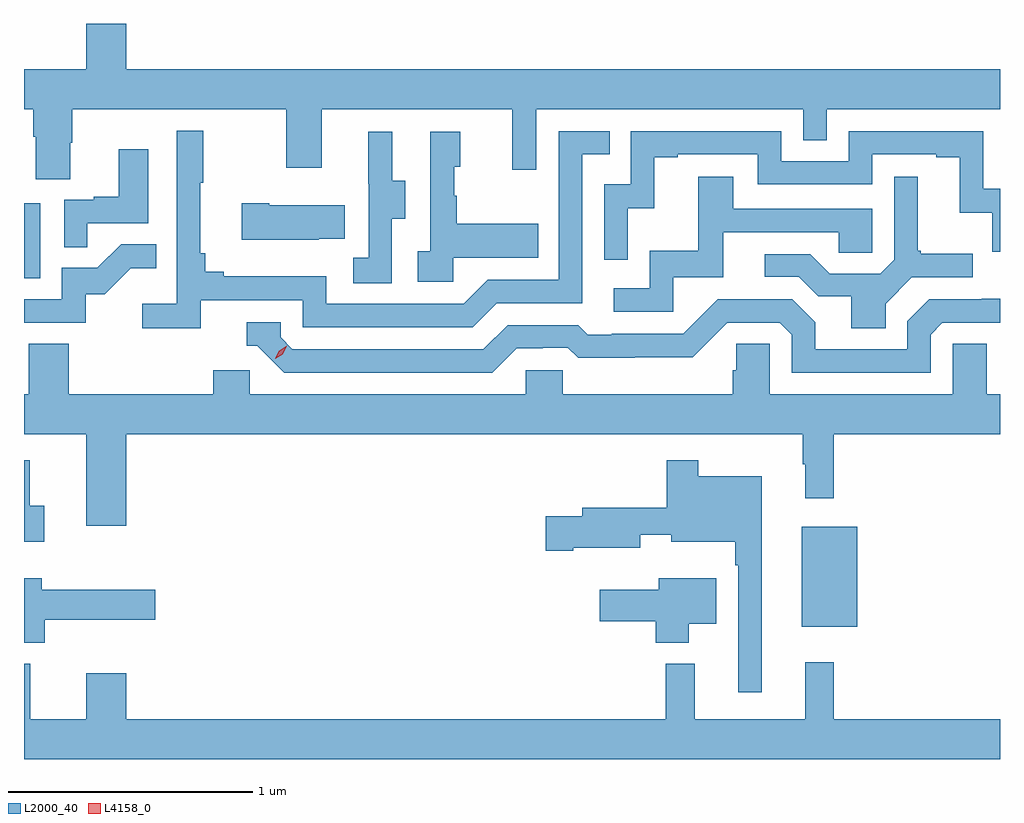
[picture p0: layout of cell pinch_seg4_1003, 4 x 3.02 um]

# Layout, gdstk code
import gdstk
lib = gdstk.Library(unit=1e-6, precision=1e-09)
def R(c, l, rs):  # rectangles x0, y0, x1, y1
    for r in rs: c.add(gdstk.rectangle(r[:2], r[2:], *l))
def P(c, l, *ps):  # polygons
    for p in ps: c.add(gdstk.Polygon(p, *l))
L2000_40 = (2000, 40)
L4158_0 = (4158, 0)

pinch_seg4_1003 = lib.new_cell('pinch_seg4_1003')
R(pinch_seg4_1003, L2000_40, [(827.279,777.383,827.506,777.793), (824.092,778.812,824.158,779.119)])
P(pinch_seg4_1003, L2000_40, [(824.281,779.367),(824.289,779.367),(824.289,779.504),(825.166,779.504),(825.166,779.265),(825.313,779.265),(825.313,779.504),(826.094,779.504),(826.094,779.256),(826.191,779.256),(826.191,779.504),(827.286,779.504),(827.286,779.377),(827.382,779.377),(827.382,779.504),(828.092,779.504),(828.092,779.668),(824.512,779.668),(824.512,779.855),(824.348,779.855),(824.348,779.668),(824.092,779.668),(824.092,779.504),(824.129,779.504),(824.129,779.392),(824.141,779.392),(824.141,779.218),(824.281,779.218)],
  [(824.816,778.722),(825.234,778.722),(825.234,778.611),(825.931,778.611),(826.03,778.71),(826.38,778.71),(826.38,779.319),(826.493,779.319),(826.493,779.415),(826.284,779.415),(826.284,778.806),(825.993,778.806),(825.894,778.707),(825.33,778.707),(825.33,778.819),(824.911,778.819),(824.911,778.838),(824.834,778.838),(824.834,778.915),(824.815,778.915),(824.815,779.203),(824.827,779.203),(824.827,779.416),(824.718,779.416),(824.718,778.708),(824.577,778.708),(824.577,778.606),(824.816,778.606)],
  [(826.566,779.099),(826.676,779.099),(826.676,779.307),(826.771,779.307),(826.771,779.319),(827.1,779.319),(827.1,779.196),(827.568,779.196),(827.568,779.319),(827.831,779.319),(827.831,779.307),(827.927,779.307),(827.927,779.081),(828.06,779.081),(828.06,778.92),(828.092,778.92),(828.092,779.179),(828.024,779.179),(828.024,779.415),(827.472,779.415),(827.472,779.292),(827.196,779.292),(827.196,779.415),(826.578,779.415),(826.578,779.196),(826.47,779.196),(826.47,778.887),(826.566,778.887)],
  [(825.6,779.056),(825.655,779.056),(825.655,779.211),(825.601,779.211),(825.601,779.413),(825.503,779.413),(825.503,779.199),(825.504,779.199),(825.504,778.895),(825.441,778.895),(825.441,778.792),(825.6,778.792)],
  [(825.852,778.895),(826.199,778.895),(826.199,779.035),(825.865,779.035),(825.865,779.15),(825.855,779.15),(825.855,779.268),(825.88,779.268),(825.88,779.413),(825.756,779.413),(825.756,778.922),(825.705,778.922),(825.705,778.797),(825.852,778.797)],
  [(824.351,779.037),(824.602,779.037),(824.602,779.341),(824.48,779.341),(824.48,779.146),(824.377,779.146),(824.377,779.133),(824.256,779.133),(824.256,778.939),(824.351,778.939)],
  [(827.623,778.708),(827.73,778.815),(827.98,778.815),(827.98,778.912),(827.767,778.912),(827.767,778.924),(827.755,778.924),(827.755,779.227),(827.658,779.227),(827.658,778.887),(827.601,778.83),(827.395,778.83),(827.314,778.911),(827.127,778.911),(827.127,778.818),(827.268,778.818),(827.348,778.738),(827.483,778.738),(827.483,778.606),(827.623,778.606)],
  [(826.752,778.815),(826.957,778.815),(826.957,779.001),(827.431,779.001),(827.431,778.917),(827.568,778.917),(827.568,779.097),(826.999,779.097),(826.999,779.227),(826.855,779.227),(826.855,778.924),(826.656,778.924),(826.656,778.77),(826.509,778.77),(826.509,778.674),(826.752,778.674)],
  [(825.299,778.973),(825.407,778.973),(825.407,779.11),(825.097,779.11),(825.097,779.118),(824.985,779.118),(824.985,778.97),(825.299,778.97)],
  [(824.346,778.746),(824.422,778.746),(824.529,778.853),(824.633,778.853),(824.633,778.952),(824.49,778.952),(824.392,778.854),(824.247,778.854),(824.247,778.725),(824.092,778.725),(824.092,778.629),(824.346,778.629)],
  [(826.111,778.524),(826.218,778.524),(826.218,778.527),(826.321,778.527),(826.363,778.485),(826.596,778.485),(826.596,778.487),(826.832,778.487),(826.974,778.629),(827.19,778.629),(827.238,778.581),(827.238,778.425),(827.808,778.425),(827.808,778.581),(827.856,778.629),(828.092,778.629),(828.092,778.727),(828.018,778.727),(828.018,778.725),(827.802,778.725),(827.712,778.635),(827.712,778.521),(827.335,778.521),(827.335,778.631),(827.241,778.725),(826.935,778.725),(826.794,778.584),(826.501,778.584),(826.501,778.581),(826.402,778.581),(826.363,778.62),(826.074,778.62),(825.975,778.521),(825.192,778.521),(825.144,778.569),(825.144,778.632),(825.005,778.632),(825.005,778.536),(825.048,778.536),(825.159,778.425),(826.012,778.425)],
  [(827.148,778.544),(827.011,778.544),(827.011,778.434),(826.997,778.434),(826.997,778.336),(826.299,778.336),(826.299,778.434),(826.149,778.434),(826.149,778.336),(825.018,778.336),(825.018,778.434),(824.867,778.434),(824.867,778.336),(824.276,778.336),(824.276,778.544),(824.111,778.544),(824.111,778.336),(824.092,778.336),(824.092,778.172),(824.348,778.172),(824.348,777.798),(824.512,777.798),(824.512,778.172),(827.283,778.172),(827.283,778.049),(827.294,778.049),(827.294,777.909),(827.411,777.909),(827.411,778.172),(828.092,778.172),(828.092,778.336),(828.037,778.336),(828.037,778.544),(827.898,778.544),(827.898,778.336),(827.148,778.336)],
  [(827.116,778),(826.855,778),(826.855,778.066),(826.726,778.066),(826.726,777.871),(826.379,777.871),(826.379,777.837),(826.23,777.837),(826.23,777.695),(826.342,777.695),(826.342,777.707),(826.618,777.707),(826.618,777.761),(826.745,777.761),(826.745,777.731),(827.007,777.731),(827.007,777.635),(827.019,777.635),(827.019,777.114),(827.116,777.114)],
  [(824.176,777.879),(824.115,777.879),(824.115,778.066),(824.092,778.066),(824.092,777.731),(824.176,777.731)],
  [(826.816,777.395),(826.93,777.395),(826.93,777.583),(826.694,777.583),(826.694,777.535),(826.452,777.535),(826.452,777.406),(826.682,777.406),(826.682,777.317),(826.816,777.317)],
  [(824.177,777.413),(824.629,777.413),(824.629,777.535),(824.164,777.535),(824.164,777.583),(824.092,777.583),(824.092,777.317),(824.177,777.317)],
  [(828.092,777.004),(827.411,777.004),(827.411,777.238),(827.294,777.238),(827.294,777.004),(826.841,777.004),(826.841,777.232),(826.723,777.232),(826.723,777.004),(824.512,777.004),(824.512,777.193),(824.348,777.193),(824.348,777.004),(824.118,777.004),(824.118,777.232),(824.092,777.232),(824.092,776.84),(828.092,776.84)])
P(pinch_seg4_1003, L4158_0, [(825.121,778.482),(825.121,778.483),(825.138,778.515),(825.169,778.534),(825.169,778.534),(825.169,778.534),(825.153,778.501),(825.122,778.482)])

lib.write_gds('pinch_seg4_1003.gds')
